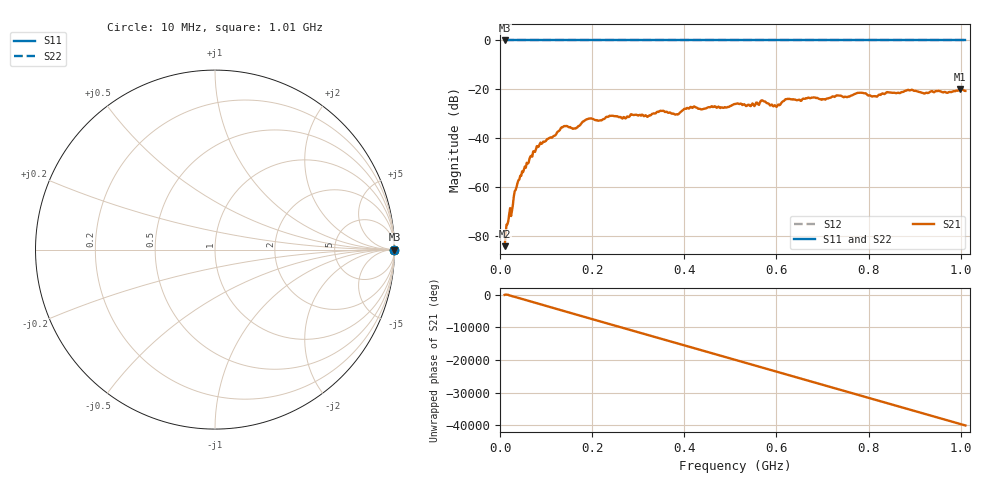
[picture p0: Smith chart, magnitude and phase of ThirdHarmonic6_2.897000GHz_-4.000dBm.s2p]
! 8/17/2025 7:59:32 AM
! C:\ANRITSUVNA\TEMP\TEMP.S2P
! CHANNEL.1
! TR.MEASUREMENT
! RAW.DATA
! RF.CORRECTION.OFF
! AVERAGING.OFF
! IF.BANDWIDTH: 5KHZ
! SWEEPTYPE:  FREQ.SWEEP(Linear)
! Reference Plane Port Info
! PORT:  PORT1  PORT2
! DISTANCE:  0  m  0  m
! TIME:  0  s  0  s
! PHASE.OFFSET:  0  deg.  0  deg.
! LOSS:  0  dB  0  dB
! REF.LOSS:  0  dB  0  dB
! REF.FREQ:  0  Hz  0  Hz
! Power Info
! POWER:  -20  dBm  -20  dBm
! EFF.POWER:  -20  dBm  -20  dBm
! SOURCE.ATTEN:  0  dB  0  dB
! TEST.ATTEN:  0  dB  0  dB
# GHZ S RI R 50.0
! FREQ.GHZ  S11RE  S11IM  S21RE  S21IM  S12RE  S12IM  S22RE  S22IM
!; PortSelection: Port_12
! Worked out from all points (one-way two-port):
!   501 points, 10 MHz to 1.01 GHz, reference 50 ohm
!   highest |S21| = -19.91 dB at 998 MHz (marker M1); lowest = -84.3 dB at 10 MHz (marker M2)
!   lowest |S11| = 0.0 dB at 10 MHz (marker M3)
!   |S11| at or under -10 dB: nowhere
!   |S22| runs from 0.0 to 0.0 dB; largest |S21 - S12| = 1.1
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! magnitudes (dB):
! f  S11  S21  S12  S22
! 10 MHz  0.0  -84.3  0.0  0.0
! 40 MHz  0.0  -57.3  0.0  0.0
! 76 MHz  0.0  -45.7  0.0  0.0
! 136 MHz  0.0  -35.6  0.0  0.0
! 162 MHz  0.0  -36.1  0.0  0.0
! 178 MHz  0.0  -33.7  0.0  0.0
! 194 MHz  0.0  -32.0  0.0  0.0
! 322 MHz  0.0  -31.0  0.0  0.0
! 344 MHz  0.0  -29.3  0.0  0.0
! 384 MHz  0.0  -30.2  0.0  0.0
! 418 MHz  0.0  -27.6  0.0  0.0
! 510 MHz  0.0  -26.0  0.0  0.0
! 548 MHz  0.0  -25.8  0.0  0.0
! 570 MHz  0.0  -24.6  0.0  0.0
! 598 MHz  0.0  -26.8  0.0  0.0
! 624 MHz  0.0  -24.0  0.0  0.0
! 678 MHz  0.0  -23.4  0.0  0.0
! 780 MHz  0.0  -21.4  0.0  0.0
! 814 MHz  0.0  -22.8  0.0  0.0
! 844 MHz  0.0  -21.3  0.0  0.0
! 998 MHz  0.0  -19.9  0.0  0.0
! 1.01 GHz  0.0  -20.7  0.0  0.0
